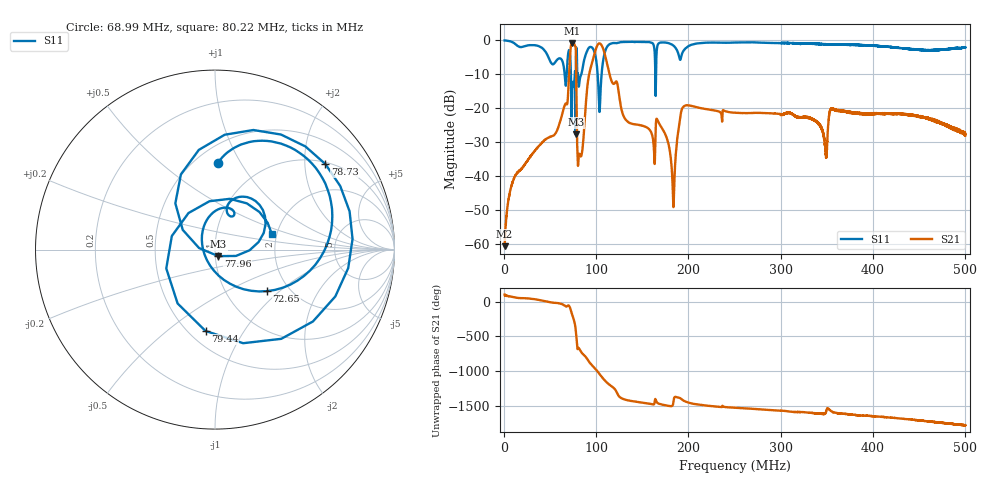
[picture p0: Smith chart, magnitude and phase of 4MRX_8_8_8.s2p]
! NanoVNA-App
! Date: 2026-08-19 14:26:56
! Start: 1MHz Stop: 500MHz Points: 6401
! S-Parameter data: F S11 S21 S12 S22
# Hz S RI R 50
!  Frequency  S11_Real  S11_Imag  S21_Real  S21_Imag  S12_Real  S12_Imag  S22_Real  S22_Imag
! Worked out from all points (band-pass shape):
!   6401 points, 1 MHz to 500 MHz, reference 50 ohm
!   highest |S21| = -0.78 dB at 73.82 MHz (marker M1); lowest = -60.8 dB at 1 MHz (marker M2)
!   |S21| within 3 dB of the highest: 72.1 MHz to 78.18 MHz (6.075 MHz wide, 8.08 % of centre); 98.49 MHz to 109.2 MHz (10.73 MHz wide, 10.3 % of centre)
!   lowest |S11| = -27.8 dB at 77.96 MHz (marker M3), VSWR 1.09, Z = 51.8 - j3.78 ohm
!   |S11| at or under -10 dB: 72.78 MHz to 76.9 MHz (4.117 MHz wide, 5.5 % of centre); 80.37 MHz to 84.07 MHz (3.701 MHz wide, 4.5 % of centre); 101.7 MHz to 106 MHz (4.285 MHz wide, 4.12 % of centre)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
!   S12 and S22 are empty: the file has one direction only
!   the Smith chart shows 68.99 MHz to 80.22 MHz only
!   S11 on the Smith chart (normalised r, x): 68.99 MHz: 0.64, +0.80; 72.65 MHz: 1.55, -0.83; 77.96 MHz: 1.04, -0.08; 78.73 MHz: 1.05, +2.54; 79.44 MHz: 0.60, -0.69; 80.22 MHz: 1.89, +0.36
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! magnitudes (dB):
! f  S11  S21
! 1 MHz  0.0  -60.8
! 11.45 MHz  -0.8  -40.5
! 68.99 MHz  -6.3  -18.5
! 72.65 MHz  -8.6  -1.9
! 73.82 MHz  -19.3  -0.8
! 77.96 MHz  -27.8  -2.2
! 78.73 MHz  -2.2  -15.7
! 79.44 MHz  -6.8  -29.7
! 80.22 MHz  -9.7  -36.2
! 84.19 MHz  -9.9  -34.0
! 95.5 MHz  -2.1  -6.8
! 103.3 MHz  -18.7  -0.9
! 112.1 MHz  -1.8  -7.1
! 132.3 MHz  -0.4  -23.5
! 167.4 MHz  -1.0  -24.0
! 183.5 MHz  -1.5  -47.6
! 195.1 MHz  -2.9  -19.5
! 250.5 MHz  -0.6  -21.4
! 333.7 MHz  -1.0  -23.1
! 348.4 MHz  -1.1  -32.4
! 416.9 MHz  -1.9  -21.6
! 500 MHz  -2.1  -28.1
